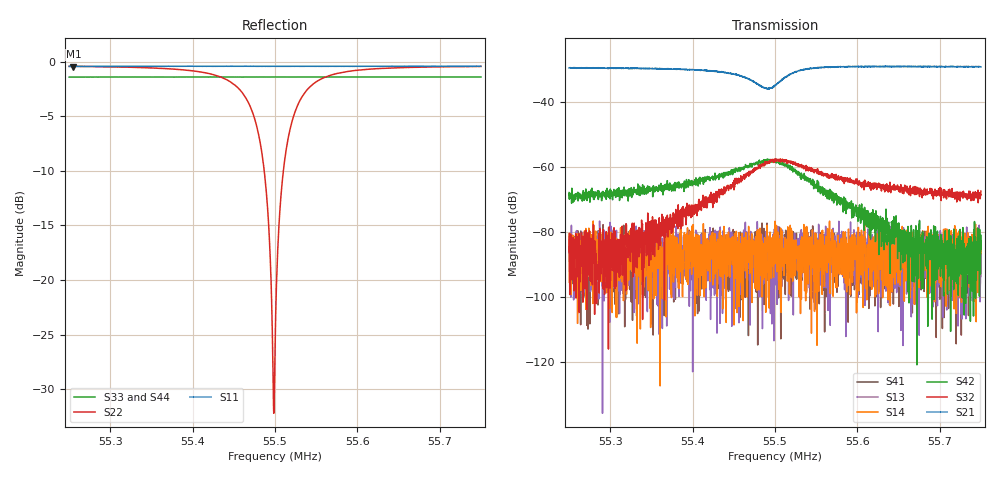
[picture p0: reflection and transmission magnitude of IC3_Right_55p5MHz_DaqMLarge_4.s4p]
#  HZ  S  DB  R  50.00
! Rohde & Schwarz Vector Network Analyzer
! Rohde-Schwarz,ZNB8-4Port,1311601044102961,2.82
! Created: UTC 2/12/2019, 2:23:46 PM
! freq[Hz]  db:S11  ang:S11  db:S12  ang:S12  db:S13  ang:S13  db:S14  ang:S14
!  db:S21  ang:S21  db:S22  ang:S22  db:S23  ang:S23  db:S24  ang:S24
!  db:S31  ang:S31  db:S32  ang:S32  db:S33  ang:S33  db:S34  ang:S34
!  db:S41  ang:S41  db:S42  ang:S42  db:S43  ang:S43  db:S44  ang:S44
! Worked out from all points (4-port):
!   2001 points, 55.25 MHz to 55.75 MHz, reference 50 ohm
!   strongest paths, dB at 55.25 MHz, 55.375 MHz, 55.5 MHz, 55.625 MHz, 55.75 MHz:
!     S21: -29.5, -29.8, -34.8, -29.1, -29.2
!     S32: -86.0, -77.1, -58.1, -65.2, -67.3
!     S42: -67.8, -66.1, -58.0, -77.7, -85.4
!     S14: -80.5, -83.5, -76.6, -88.2, -86.3
!     S13: -81.8, -85.6, -87.4, -91.6, -83.7
!     S41: -82.3, -93.4, -87.4, -89.8, -83.6
!   lowest |S11| = -0.4 dB at 55.2552 MHz (marker M1), VSWR 40.43, Z = 2 + j39.3 ohm
!   |S11| at or under -10 dB: nowhere
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5.525e7  -0.43 103.7  -29.46 87.8  -81.80 -137.1  -80.53 33.8
         -29.49 87.8  -0.41 -108.3  -88.54 -53.3  -69.15 -130.0
         -94.64 132.4  -85.96 -85.3  -1.40 31.7  -86.24 166.5
         -82.26 96.0  -67.79 -128.0  -94.48 -87.4  -1.41 38.2
5.525525e7  -0.43 103.6  -29.48 87.2  -84.45 168.9  -84.70 -74.2
            -29.54 87.5  -0.42 -108.7  -83.72 -119.1  -68.36 -124.3
            -87.67 -153.2  -88.73 118.3  -1.39 31.7  -85.39 55.1
            -86.12 140.3  -69.44 -131.8  -88.45 58.1  -1.42 38.1
5.546225e7  -0.41 99.8  -32.37 68.1  -85.87 -156.0  -81.84 61.9
            -32.34 68.8  -3.04 -156.3  -62.98 -2.0  -60.12 -166.0
            -87.46 -163.0  -63.03 -6.1  -1.39 29.1  -86.03 125.6
            -92.69 6.2  -60.21 -167.0  -82.59 160.7  -1.41 35.6
5.54985e7  -0.41 99.0  -35.24 102.0  -82.43 148.4  -84.84 100.0
           -35.34 102.0  -32.21 70.3  -58.14 -48.1  -57.72 146.1
           -85.55 163.1  -58.03 -51.0  -1.39 28.7  -86.37 134.2
           -89.94 -146.9  -57.88 145.3  -90.24 178.5  -1.41 35.2
5.55105e7  -0.41 98.8  -32.71 110.0  -86.45 -9.8  -86.93 -93.6
           -32.81 111.1  -9.76 -40.6  -58.18 -69.0  -58.99 118.9
           -80.07 94.7  -58.03 -68.4  -1.39 28.6  -80.38 42.4
           -84.05 34.1  -59.23 125.2  -99.88 1.7  -1.41 35.0
5.553525e7  -0.41 98.4  -30.03 103.2  -83.30 124.4  -86.28 -125.4
            -30.02 102.6  -2.92 -73.0  -60.07 -97.7  -63.64 93.3
            -84.57 -116.8  -60.05 -95.8  -1.39 28.3  -88.80 -81.2
            -80.82 -101.0  -62.89 98.9  -87.87 97.9  -1.40 34.7
5.575e7  -0.41 94.6  -29.12 76.5  -83.72 65.6  -86.30 -67.1
         -29.18 76.4  -0.42 -121.5  -70.56 -147.4  -83.13 -96.4
         -87.37 129.9  -67.32 -134.1  -1.39 25.6  -88.60 -178.8
         -83.64 -128.1  -85.37 134.8  -84.96 -69.5  -1.40 32.1
